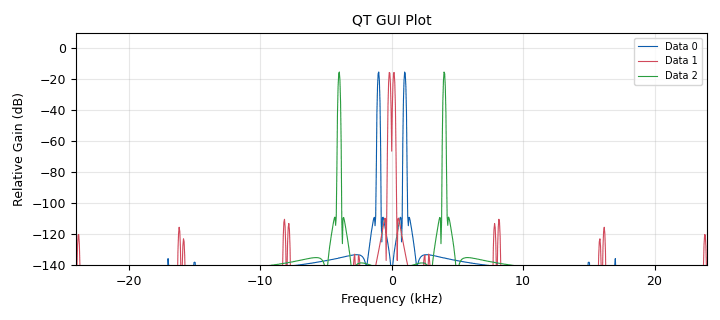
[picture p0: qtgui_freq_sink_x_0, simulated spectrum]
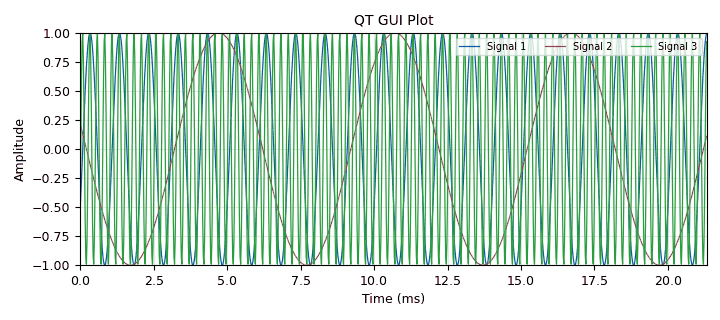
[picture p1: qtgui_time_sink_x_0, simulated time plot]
options:
  parameters:
    generate_options: qt_gui
    id: segundo_punto
    output_language: python
    title: segundo_punto
  states: {}

blocks:
- name: samp_rate
  id: variable
  parameters:
    value: '48000'
  states: {}
- name: analog_sig_source_x_0
  id: analog_sig_source_x
  parameters:
    amp: '1'
    freq: '1000'
    offset: '0'
    phase: '0'
    samp_rate: samp_rate
    type: float
    waveform: analog.GR_COS_WAVE
  states: {}
- name: analog_sig_source_x_0_0
  id: analog_sig_source_x
  parameters:
    amp: '1'
    freq: '1000'
    offset: '0'
    phase: '0'
    samp_rate: samp_rate
    type: float
    waveform: analog.GR_COS_WAVE
  states: {}
- name: analog_sig_source_x_0_1
  id: analog_sig_source_x
  parameters:
    amp: '1'
    freq: '1000'
    offset: '0'
    phase: '0'
    samp_rate: samp_rate
    type: float
    waveform: analog.GR_COS_WAVE
  states: {}
- name: blocks_throttle_0
  id: blocks_throttle
  parameters:
    samples_per_second: samp_rate
    type: float
  states: {}
- name: qtgui_freq_sink_x_0
  id: qtgui_freq_sink_x
  parameters:
    bw: samp_rate
    fc: '0'
    fftsize: '1024'
    name: QT GUI Plot
    nconnections: '3'
    type: float
  states: {}
- name: qtgui_time_sink_x_0
  id: qtgui_time_sink_x
  parameters:
    name: QT GUI Plot
    nconnections: '3'
    size: '1024'
    srate: samp_rate
    type: float
  states: {}
- name: rational_resampler_xxx_0
  id: rational_resampler_xxx
  parameters:
    decim: '1'
    interp: '1'
    type: fff
  states: {}
- name: rational_resampler_xxx_0_0
  id: rational_resampler_xxx
  parameters:
    decim: '1'
    interp: '6'
    type: fff
  states: {}
- name: rational_resampler_xxx_0_1
  id: rational_resampler_xxx
  parameters:
    decim: '4'
    interp: '1'
    type: fff
  states: {}

connections:
- [analog_sig_source_x_0, '0', rational_resampler_xxx_0, '0']
- [analog_sig_source_x_0_0, '0', rational_resampler_xxx_0_0, '0']
- [analog_sig_source_x_0_1, '0', rational_resampler_xxx_0_1, '0']
- [blocks_throttle_0, '0', qtgui_freq_sink_x_0, '0']
- [blocks_throttle_0, '0', qtgui_time_sink_x_0, '0']
- [rational_resampler_xxx_0, '0', blocks_throttle_0, '0']
- [rational_resampler_xxx_0_0, '0', qtgui_freq_sink_x_0, '1']
- [rational_resampler_xxx_0_0, '0', qtgui_time_sink_x_0, '1']
- [rational_resampler_xxx_0_1, '0', qtgui_freq_sink_x_0, '2']
- [rational_resampler_xxx_0_1, '0', qtgui_time_sink_x_0, '2']

metadata:
  file_format: 1
  grc_version: 3.10.2.0
